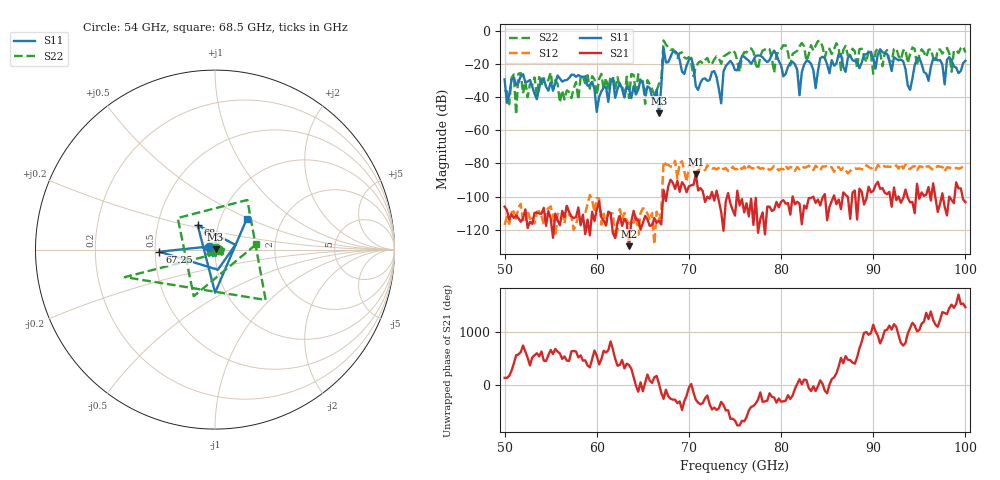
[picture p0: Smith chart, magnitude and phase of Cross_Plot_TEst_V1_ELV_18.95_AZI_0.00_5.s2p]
! 11/25/2026 1:18:53 PM
! C:\ANRITSUVNA\TEMP\TEMP.S2P
! CHANNEL.1
! TR.MEASUREMENT
! RAW.DATA
# HZ S RI R 50.0
! FREQ.HZ  S11RE  S11IM  S21RE  S21IM  S12RE  S12IM  S22RE  S22IM
!; PortSelection: Port_12
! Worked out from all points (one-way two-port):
!   201 points, 50 GHz to 100 GHz, reference 50 ohm
!   highest |S21| = -86.52 dB at 70.75 GHz (marker M1); lowest = -130.0 dB at 63.5 GHz (marker M2)
!   lowest |S11| = -49.8 dB at 66.75 GHz (marker M3), VSWR 1.01, Z = 50.3 + j0.0704 ohm
!   |S11| at or under -10 dB: start of sweep to end of sweep
!   |S22| runs from -50.4 to -5.6 dB; largest |S21 - S12| = 0.00014
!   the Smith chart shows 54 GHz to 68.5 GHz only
!   S11 on the Smith chart (normalised r, x): 54 GHz: 0.93, +0.03; 67.25 GHz: 0.53, -0.01; 68 GHz: 0.80, +0.22; 68.5 GHz: 1.33, +0.49
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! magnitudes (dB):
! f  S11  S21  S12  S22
! 50 GHz  -29.1  -106.1  -117.1  -35.8
! 51 GHz  -27.9  -112.9  -109.0  -26.2
! 51.25 GHz  -32.6  -111.4  -113.4  -50.4
! 51.5 GHz  -31.2  -113.1  -106.8  -25.7
! 54 GHz  -28.7  -110.5  -111.6  -32.9
! 58.5 GHz  -27.7  -110.9  -111.8  -27.7
! 60 GHz  -48.8  -108.0  -100.9  -38.6
! 63.5 GHz  -34.8  -130.0  -116.6  -40.4
! 66.75 GHz  -49.8  -114.5  -114.4  -31.9
! 67.25 GHz  -10.2  -96.0  -78.7  -5.6
! 68 GHz  -15.5  -89.8  -81.8  -11.3
! 68.5 GHz  -12.1  -95.4  -78.3  -12.7
! 70.75 GHz  -33.4  -86.5  -82.6  -21.9
! 72.75 GHz  -24.1  -102.4  -82.8  -17.0
! 73.5 GHz  -43.6  -109.4  -81.9  -19.7
! 73.75 GHz  -24.3  -120.7  -83.5  -15.4
! 75 GHz  -23.5  -111.5  -83.5  -13.0
! 83.5 GHz  -23.4  -100.0  -84.0  -11.8
! 91.75 GHz  -18.1  -97.1  -81.9  -17.6
! 94 GHz  -35.5  -103.5  -83.4  -13.7
! 94.75 GHz  -16.5  -92.3  -84.0  -20.9
! 100 GHz  -17.9  -103.4  -82.4  -12.9
